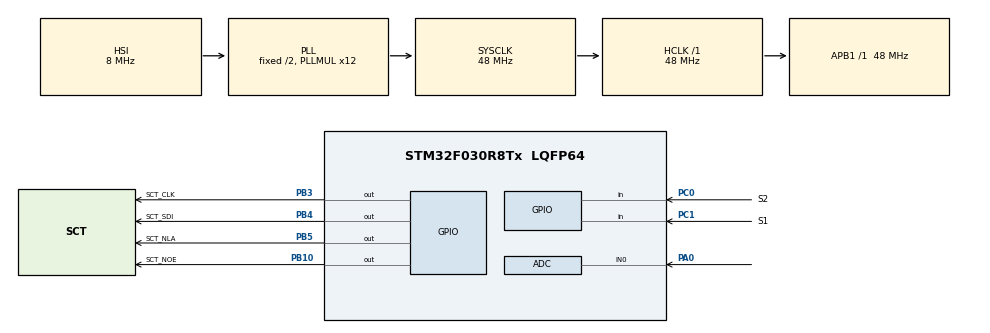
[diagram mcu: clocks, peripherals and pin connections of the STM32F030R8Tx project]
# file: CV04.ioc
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ADC.ContinuousConvMode=ENABLE
ADC.Overrun=ADC_OVR_DATA_OVERWRITTEN
ADC.SamplingTime=ADC_SAMPLETIME_239CYCLES_5
Mcu.Family=STM32F0
Mcu.Name=STM32F030R8Tx
Mcu.Package=LQFP64
NVIC.ADC1_IRQn=true\:0\:0\:false\:false\:true\:true\:true
PA0.Mode=IN0
PA0.Signal=ADC_IN0
PA13.GPIO_Label=TMS
PA13.Mode=Serial_Wire
PA13.Signal=SYS_SWDIO
PA14.GPIO_Label=TCK
PA14.Mode=Serial_Wire
PA14.Signal=SYS_SWCLK
PB10.GPIO_Label=SCT_NOE
PB10.Signal=GPIO_Output
PB3.GPIO_Label=SCT_CLK
PB3.GPIO_Speed=GPIO_SPEED_FREQ_MEDIUM
PB3.Signal=GPIO_Output
PB4.GPIO_Label=SCT_SDI
PB4.GPIO_Speed=GPIO_SPEED_FREQ_MEDIUM
PB4.Signal=GPIO_Output
PB5.GPIO_Label=SCT_NLA
PB5.Signal=GPIO_Output
PC0.GPIO_Label=S2
PC0.GPIO_PuPd=GPIO_PULLUP
PC0.Signal=GPIO_Input
PC1.GPIO_Label=S1
PC1.GPIO_PuPd=GPIO_PULLUP
PC1.Signal=GPIO_Input
ProjectManager.HeapSize=0x200
ProjectManager.StackSize=0x400
ProjectManager.TargetToolchain=STM32CubeIDE
RCC.AHBFreq_Value=48000000
RCC.APB1Freq_Value=48000000
RCC.APB1TimFreq_Value=48000000
RCC.HCLKFreq_Value=48000000
RCC.PLLMUL=RCC_PLL_MUL12
RCC.SYSCLKFreq_VALUE=48000000
RCC.SYSCLKSource=RCC_SYSCLKSOURCE_PLLCLK
board=NUCLEO-F030R8

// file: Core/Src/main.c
/* USER CODE BEGIN Header */
/**
  ******************************************************************************
  * @file           : main.c
  * @brief          : Main program body
  ******************************************************************************
  * @attention
  *
  * <h2><center>&copy; Copyright (c) 2020 STMicroelectronics.
  * All rights reserved.</center></h2>
  *
  * This software component is licensed by ST under BSD 3-Clause license,
  * the "License"; You may not use this file except in compliance with the
  * License. You may obtain a copy of the License at:
  *                        opensource.org/licenses/BSD-3-Clause
  *
  ******************************************************************************
  */
/* USER CODE END Header */
#include "main.h"

/* USER CODE BEGIN Includes */
#include "sct.h"
/* USER CODE END Includes */

/* USER CODE BEGIN PTD */
static enum { LEFT, RIGHT } dir = RIGHT;
/* USER CODE END PTD */

/* USER CODE BEGIN PD */
#define ADC_Q 8

/* USER CODE END PD */

ADC_HandleTypeDef hadc;

/* USER CODE BEGIN PV */
static uint8_t disp_val = 0;
/* USER CODE END PV */

void SystemClock_Config(void);
static void MX_GPIO_Init(void);
static void MX_ADC_Init(void);
/* USER CODE BEGIN PFP */
static volatile uint32_t raw_pot;
static uint32_t avg_pot;

void HAL_ADC_ConvCpltCallback(ADC_HandleTypeDef* hadc)
{

			raw_pot = avg_pot >> ADC_Q;
			avg_pot -= raw_pot;
			avg_pot += HAL_ADC_GetValue(hadc);

}
/* USER CODE END PFP */

int main(void)
{
  /* USER CODE BEGIN 1 */
	sct_init();
  /* USER CODE END 1 */

  /* MCU Configuration--------------------------------------------------------*/

  /* Reset of all peripherals, Initializes the Flash interface and the Systick. */
  HAL_Init();

  /* Configure the system clock */
  SystemClock_Config();

  /* Initialize all configured peripherals */
  MX_GPIO_Init();
  MX_ADC_Init();
  /* USER CODE BEGIN 2 */
  HAL_ADCEx_Calibration_Start(&hadc);
  HAL_Delay(5);
  HAL_ADC_Start_IT(&hadc);

  /* USER CODE END 2 */

  /* Infinite loop */
  while (1)
  {

    /* USER CODE BEGIN 3 */
	  if(!HAL_GPIO_ReadPin(GPIOC, S2_Pin))// left BTN pressed
	  {

		  dir = LEFT; //change direction of LED bar
	  }
	  else if (!HAL_GPIO_ReadPin(GPIOC, S1_Pin))
	  {

		  dir = RIGHT;//change direction of LED bar
	  }

	  switch(dir)
	  {
	  	  case LEFT:// rotate left
	  	  {
	  		  if(disp_val==0) disp_val = 5;//value must be 0-5
	  		  else disp_val--;
	  	  }break;
	  	  case RIGHT://rotate right
	  	  {
	  		if(disp_val==5) disp_val = 0;//value must be 0-5
	  			  		  else disp_val++;

	  	  }break;

	  }
	  sct_value(disp_val);// display value
	  HAL_Delay(50+(raw_pot/(4096/250))); //delay 50-300ms -> 50ms + (ADC_value/ (ADC_max/value_max) )

  }
  /* USER CODE END 3 */
}

void SystemClock_Config(void)
{
  RCC_OscInitTypeDef RCC_OscInitStruct = {0};
  RCC_ClkInitTypeDef RCC_ClkInitStruct = {0};

  /** Initializes the RCC Oscillators according to the specified parameters
  * in the RCC_OscInitTypeDef structure.
  */
  RCC_OscInitStruct.OscillatorType = RCC_OSCILLATORTYPE_HSI|RCC_OSCILLATORTYPE_HSI14;
  RCC_OscInitStruct.HSIState = RCC_HSI_ON;
  RCC_OscInitStruct.HSI14State = RCC_HSI14_ON;
  RCC_OscInitStruct.HSICalibrationValue = RCC_HSICALIBRATION_DEFAULT;
  RCC_OscInitStruct.HSI14CalibrationValue = 16;
  RCC_OscInitStruct.PLL.PLLState = RCC_PLL_ON;
  RCC_OscInitStruct.PLL.PLLSource = RCC_PLLSOURCE_HSI;
  RCC_OscInitStruct.PLL.PLLMUL = RCC_PLL_MUL12;
  RCC_OscInitStruct.PLL.PREDIV = RCC_PREDIV_DIV1;
  if (HAL_RCC_OscConfig(&RCC_OscInitStruct) != HAL_OK)
  {
    Error_Handler();
  }
  /** Initializes the CPU, AHB and APB buses clocks
  */
  RCC_ClkInitStruct.ClockType = RCC_CLOCKTYPE_HCLK|RCC_CLOCKTYPE_SYSCLK
                              |RCC_CLOCKTYPE_PCLK1;
  RCC_ClkInitStruct.SYSCLKSource = RCC_SYSCLKSOURCE_PLLCLK;
  RCC_ClkInitStruct.AHBCLKDivider = RCC_SYSCLK_DIV1;
  RCC_ClkInitStruct.APB1CLKDivider = RCC_HCLK_DIV1;

  if (HAL_RCC_ClockConfig(&RCC_ClkInitStruct, FLASH_LATENCY_1) != HAL_OK)
  {
    Error_Handler();
  }
}

static void MX_ADC_Init(void)
{

  ADC_ChannelConfTypeDef sConfig = {0};

  /** Configure the global features of the ADC (Clock, Resolution, Data Alignment and number of conversion)
  */
  hadc.Instance = ADC1;
  hadc.Init.ClockPrescaler = ADC_CLOCK_ASYNC_DIV1;
  hadc.Init.Resolution = ADC_RESOLUTION_12B;
  hadc.Init.DataAlign = ADC_DATAALIGN_RIGHT;
  hadc.Init.ScanConvMode = ADC_SCAN_DIRECTION_FORWARD;
  hadc.Init.EOCSelection = ADC_EOC_SINGLE_CONV;
  hadc.Init.LowPowerAutoWait = DISABLE;
  hadc.Init.LowPowerAutoPowerOff = DISABLE;
  hadc.Init.ContinuousConvMode = ENABLE;
  hadc.Init.DiscontinuousConvMode = DISABLE;
  hadc.Init.ExternalTrigConv = ADC_SOFTWARE_START;
  hadc.Init.ExternalTrigConvEdge = ADC_EXTERNALTRIGCONVEDGE_NONE;
  hadc.Init.DMAContinuousRequests = DISABLE;
  hadc.Init.Overrun = ADC_OVR_DATA_OVERWRITTEN;
  if (HAL_ADC_Init(&hadc) != HAL_OK)
  {
    Error_Handler();
  }
  /** Configure for the selected ADC regular channel to be converted.
  */
  sConfig.Channel = ADC_CHANNEL_0;
  sConfig.Rank = ADC_RANK_CHANNEL_NUMBER;
  sConfig.SamplingTime = ADC_SAMPLETIME_239CYCLES_5;
  if (HAL_ADC_ConfigChannel(&hadc, &sConfig) != HAL_OK)
  {
    Error_Handler();
  }

}

static void MX_GPIO_Init(void)
{
  GPIO_InitTypeDef GPIO_InitStruct = {0};

  /* GPIO Ports Clock Enable */
  __HAL_RCC_GPIOC_CLK_ENABLE();
  __HAL_RCC_GPIOA_CLK_ENABLE();
  __HAL_RCC_GPIOB_CLK_ENABLE();

  /*Configure GPIO pin Output Level */
  HAL_GPIO_WritePin(GPIOB, SCT_NOE_Pin|SCT_CLK_Pin|SCT_SDI_Pin|SCT_NLA_Pin, GPIO_PIN_RESET);

  /*Configure GPIO pins : S2_Pin S1_Pin */
  GPIO_InitStruct.Pin = S2_Pin|S1_Pin;
  GPIO_InitStruct.Mode = GPIO_MODE_INPUT;
  GPIO_InitStruct.Pull = GPIO_PULLUP;
  HAL_GPIO_Init(GPIOC, &GPIO_InitStruct);

  /*Configure GPIO pins : SCT_NOE_Pin SCT_NLA_Pin */
  GPIO_InitStruct.Pin = SCT_NOE_Pin|SCT_NLA_Pin;
  GPIO_InitStruct.Mode = GPIO_MODE_OUTPUT_PP;
  GPIO_InitStruct.Pull = GPIO_NOPULL;
  GPIO_InitStruct.Speed = GPIO_SPEED_FREQ_LOW;
  HAL_GPIO_Init(GPIOB, &GPIO_InitStruct);

  /*Configure GPIO pins : SCT_CLK_Pin SCT_SDI_Pin */
  GPIO_InitStruct.Pin = SCT_CLK_Pin|SCT_SDI_Pin;
  GPIO_InitStruct.Mode = GPIO_MODE_OUTPUT_PP;
  GPIO_InitStruct.Pull = GPIO_NOPULL;
  GPIO_InitStruct.Speed = GPIO_SPEED_FREQ_MEDIUM;
  HAL_GPIO_Init(GPIOB, &GPIO_InitStruct);

}

void Error_Handler(void)
{
}

/************************ (C) COPYRIGHT STMicroelectronics *****END OF FILE****/
